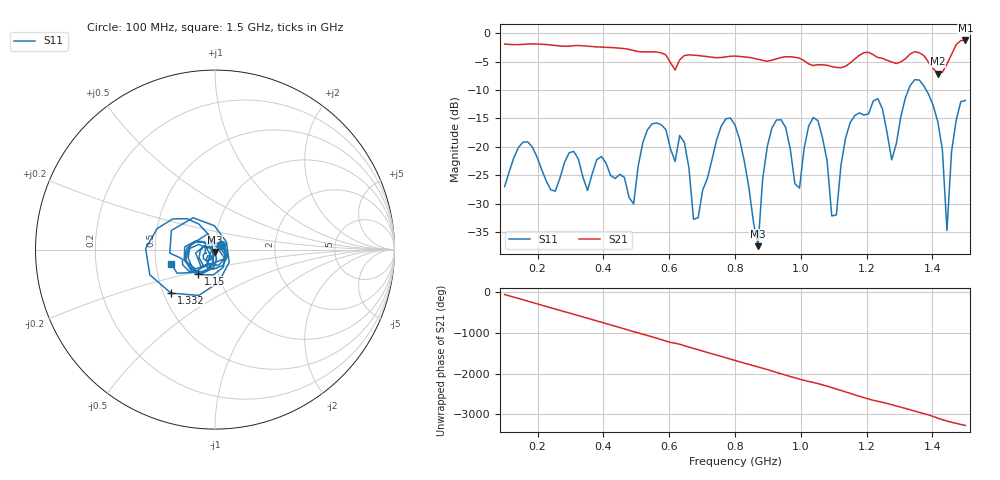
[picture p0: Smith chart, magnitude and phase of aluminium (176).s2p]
! NanoVNA-App
! Date: 2025-09-25 14:56:39
! Start: 100MHz Stop: 1,5GHz Points: 101
! S-Parameter data: F S11 S21 S12 S22
# Hz S RI R 50
!  Frequency  S11_Real  S11_Imag  S21_Real  S21_Imag  S12_Real  S12_Imag  S22_Real  S22_Imag
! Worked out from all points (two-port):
!   101 points, 100 MHz to 1.5 GHz, reference 50 ohm
!   highest |S21| = -1.29 dB at 1.5 GHz (marker M1); lowest = -7.1 dB at 1.416 GHz (marker M2)
!   |S21| within 3 dB of the highest: start of sweep to 594.6 MHz; 639.5 MHz to 738.2 MHz (98.64 MHz wide, 14.3 % of centre) (the widest 2 of 7)
!   lowest |S11| = -37.5 dB at 870 MHz (marker M3), VSWR 1.03, Z = 49.7 - j1.3 ohm
!   |S11| at or under -10 dB: start of sweep to 1.327 GHz; 1.381 GHz to end of sweep
!   S12 and S22 are empty: the file has one direction only
!   S11 on the Smith chart (normalised r, x): 100 MHz: 1.07, +0.06; 1.15 GHz: 0.80, -0.22; 1.332 GHz: 0.55, -0.30; 1.5 GHz: 0.60, -0.10
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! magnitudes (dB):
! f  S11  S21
! 100 MHz  -27.0  -1.9
! 156 MHz  -19.2  -2.0
! 338 MHz  -25.3  -2.2
! 492 MHz  -30.0  -3.1
! 520 MHz  -19.3  -3.3
! 576 MHz  -16.1  -3.5
! 646 MHz  -19.2  -3.9
! 674 MHz  -32.8  -3.9
! 800 MHz  -16.2  -4.0
! 870 MHz  -37.5  -4.6
! 912 MHz  -16.7  -4.8
! 996 MHz  -27.3  -4.4
! 1.038 GHz  -14.8  -5.7
! 1.094 GHz  -32.2  -5.9
! 1.15 GHz  -15.7  -5.3
! 1.234 GHz  -11.5  -4.3
! 1.276 GHz  -22.3  -5.1
! 1.332 GHz  -9.2  -3.7
! 1.416 GHz  -15.5  -7.1
! 1.444 GHz  -34.7  -5.4
! 1.458 GHz  -20.8  -3.7
! 1.5 GHz  -11.8  -1.3
